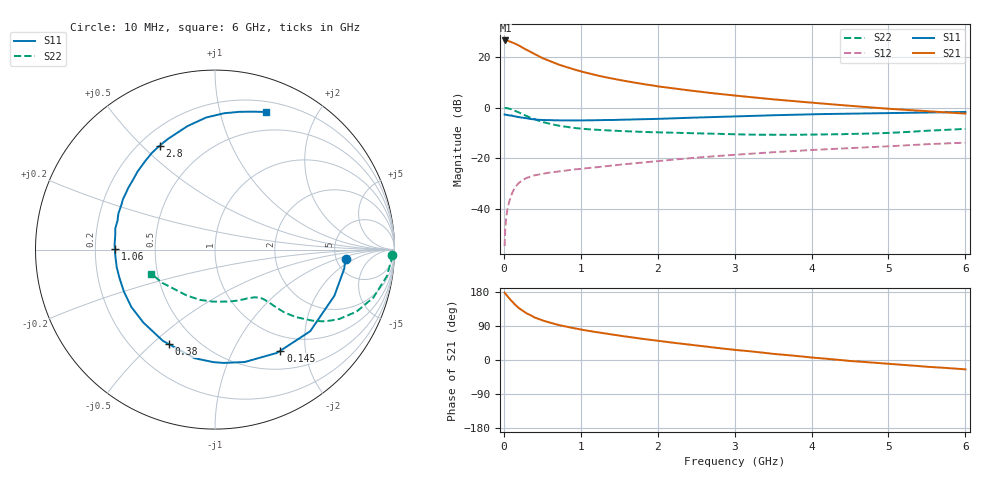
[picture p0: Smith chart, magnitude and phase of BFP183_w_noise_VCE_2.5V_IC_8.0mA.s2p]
! Infineon Technologies  Discrete & RF Semiconductors
! BFP183
! VCE = 2.5 V,  IC =  8.0 mA
! Common Emitter S-Parameters:  Jan 2016
# GHz  S  MA  R  50
!  f  S11  S21  S12  S22
! GHz  MAG  ANG  MAG  ANG  MAG  ANG  MAG  ANG
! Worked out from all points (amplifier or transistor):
!   210 points, 10 MHz to 6 GHz, reference 50 ohm
!   highest |S21| = 26.6 dB at 20 MHz (marker M1)
!   |S21| within 3 dB of that: start of sweep to 252 MHz
!   unconditionally stable (mu >= 1): 1.259 GHz to 5.691 GHz
!   at 185 MHz: K = 0.23, MSG = 27.5 dB, |S12| = -30.2 dB
!   at 1.52 GHz: K = 1.07, MAG = 15.1 dB, |S12| = -22.6 dB
!   at 6 GHz: K = 0.96, MSG = 5.8 dB, |S12| = -13.9 dB
!   lowest NFmin = 1.30 dB at 450 MHz
!   S11 on the Smith chart (normalised r, x): 10 MHz: 6.07, -1.38; 145 MHz: 0.76, -1.56; 380 MHz: 0.35, -0.57; 1.06 GHz: 0.28, +0.00; 2.8 GHz: 0.28, +0.57; 6 GHz: 0.30, +1.40
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0.01  0.7294 -4.2  21.3 177.5  0.0018 83.4  0.9883 -1.7
0.02  0.7276 -8.5  21.34 175.3  0.0043 81.5  0.9837 -3.5
0.05  0.7132 -21.1  21.15 167.4  0.0103 83.3  0.9688 -8.8
0.1  0.6988 -40.6  19.78 155.9  0.019 70.4  0.9218 -16.9
0.145  0.6708 -57.1  18.54 146.4  0.0261 63.6  0.8661 -23.0
0.2  0.6478 -75.2  16.86 136.3  0.0326 56.9  0.7937 -29.1
0.24  0.6331 -85.7  15.47 130.4  0.0361 52.8  0.7439 -32.3
0.3  0.6158 -100.7  13.81 122.7  0.0407 48.6  0.674 -36.0
0.38  0.5862 -115.8  11.88 114.6  0.0446 44.6  0.6013 -39.1
0.4  0.5855 -119.7  11.45 112.1  0.0456 43.7  0.5835 -40.0
0.5  0.5697 -134.4  9.571 104.4  0.0489 40.1  0.5198 -42.2
0.6  0.5653 -145.5  8.285 98.2  0.0518 39.3  0.4748 -43.2
0.8  0.5553 -163.5  6.427 88.3  0.0563 37.9  0.4174 -44.5
1.02  0.5568 -177.9  5.114 79.7  0.0615 38.3  0.3809 -46.0
1.06  0.5579 179.8  4.94 78.3  0.0626 38.4  0.3763 -46.3
1.5  0.5744 159.6  3.529 64.3  0.0738 39.3  0.3441 -50.5
2.02  0.5986 140.2  2.61 50.3  0.088 39.3  0.3229 -58.4
2.8  0.6565 118.0  1.863 31.1  0.1103 37.2  0.3002 -74.6
3.1  0.6747 111.0  1.673 25.0  0.1189 36.0  0.2926 -81.9
4.1  0.7414 92.2  1.216 5.0  0.147 30.1  0.2924 -110.0
5.1  0.7828 78.8  0.927 -11.5  0.174 24.4  0.32 -137.9
6  0.8179 69.6  0.76 -24.6  0.2017 16.8  0.3797 -159.4
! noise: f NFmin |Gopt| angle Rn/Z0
0.45  1.3  0.17  43  0.21
0.9  1.35  0.21  115  0.2
1.8  2.05  0.33  -177  0.14
